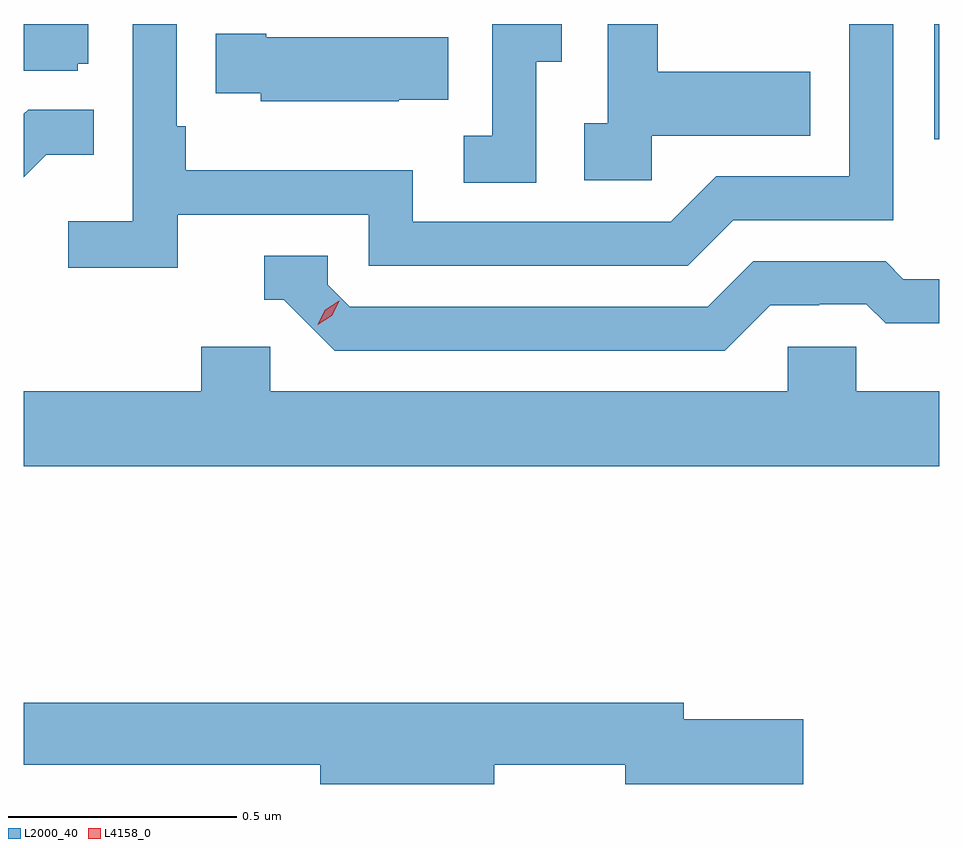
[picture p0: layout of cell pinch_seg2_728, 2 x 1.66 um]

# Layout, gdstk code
import gdstk
lib = gdstk.Library(unit=1e-6, precision=1e-09)
def R(c, l, rs):  # rectangles x0, y0, x1, y1
    for r in rs: c.add(gdstk.rectangle(r[:2], r[2:], *l))
def P(c, l, *ps):  # polygons
    for p in ps: c.add(gdstk.Polygon(p, *l))
L2000_40 = (2000, 40)
L4158_0 = (4158, 0)

pinch_seg2_728 = lib.new_cell('pinch_seg2_728')
R(pinch_seg2_728, L2000_40, [(1131.276,592.407,1131.286,592.659)])
P(pinch_seg2_728, L2000_40, [(1130.406,592.576),(1130.461,592.576),(1130.461,592.659),(1130.31,592.659),(1130.31,592.415),(1130.247,592.415),(1130.247,592.312),(1130.406,592.312)],
  [(1130.658,592.415),(1131.005,592.415),(1131.005,592.555),(1130.671,592.555),(1130.671,592.659),(1130.562,592.659),(1130.562,592.442),(1130.511,592.442),(1130.511,592.317),(1130.658,592.317)],
  [(1129.622,592.242),(1130.04,592.242),(1130.04,592.131),(1130.737,592.131),(1130.836,592.23),(1131.186,592.23),(1131.186,592.659),(1131.09,592.659),(1131.09,592.326),(1130.799,592.326),(1130.7,592.227),(1130.136,592.227),(1130.136,592.339),(1129.64,592.339),(1129.64,592.435),(1129.62,592.435),(1129.62,592.659),(1129.524,592.659),(1129.524,592.228),(1129.383,592.228),(1129.383,592.126),(1129.622,592.126)],
  [(1129.404,592.572),(1129.426,592.572),(1129.426,592.659),(1129.286,592.659),(1129.286,592.557),(1129.404,592.557)],
  [(1130.105,592.493),(1130.213,592.493),(1130.213,592.63),(1129.816,592.63),(1129.816,592.638),(1129.705,592.638),(1129.705,592.508),(1129.803,592.508),(1129.803,592.49),(1130.105,592.49)],
  [(1129.335,592.373),(1129.439,592.373),(1129.439,592.472),(1129.295,592.472),(1129.286,592.463),(1129.286,592.324)],
  [(1130.917,592.044),(1131.024,592.044),(1131.024,592.047),(1131.127,592.047),(1131.169,592.005),(1131.286,592.005),(1131.286,592.101),(1131.208,592.101),(1131.169,592.14),(1130.88,592.14),(1130.781,592.041),(1129.998,592.041),(1129.95,592.089),(1129.95,592.152),(1129.811,592.152),(1129.811,592.056),(1129.854,592.056),(1129.965,591.945),(1130.818,591.945)],
  [(1131.286,591.856),(1131.105,591.856),(1131.105,591.954),(1130.955,591.954),(1130.955,591.856),(1129.824,591.856),(1129.824,591.954),(1129.673,591.954),(1129.673,591.856),(1129.286,591.856),(1129.286,591.692),(1131.286,591.692)],
  [(1130.314,591.04),(1130.6,591.04),(1130.6,590.998),(1130.989,590.998),(1130.989,591.14),(1130.728,591.14),(1130.728,591.176),(1129.286,591.176),(1129.286,591.04),(1129.934,591.04),(1129.934,590.998),(1130.314,590.998)])
P(pinch_seg2_728, L4158_0, [(1129.928,592.002),(1129.928,592.003),(1129.944,592.035),(1129.975,592.054),(1129.975,592.054),(1129.975,592.053),(1129.959,592.021),(1129.928,592.002)])

lib.write_gds('pinch_seg2_728.gds')
